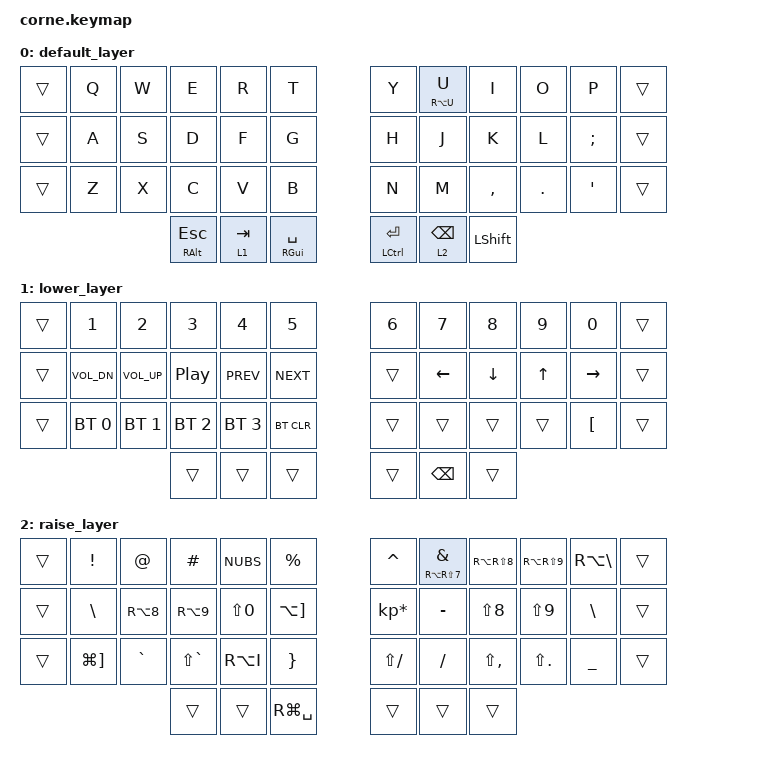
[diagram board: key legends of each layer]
/*
 * Copyright (c) 2020 The ZMK Contributors
 *
 * SPDX-License-Identifier: MIT
 */

#include <behaviors.dtsi>
#include <dt-bindings/zmk/keys.h>
#include <dt-bindings/zmk/bt.h>

#define DK_AA LBKT
#define DK_AE SEMI
#define DK_OE SQT

// Shifted characters
#define DK_SEMI LS(COMMA) // ;
#define DK_COLON LS(DOT) // :
#define DK_PLUS MINUS // +
#define DK_MINUS FSLH // -
#define DK_EQ LS(N0) // = 
#define DK_QUES UNDER // _ 
#define DK_LESS GRAVE // <
#define DK_MORE LS(GRAVE) // >
#define DK_PIPE RA(I) // |
#define DK_QUOTE AT // "
#define DK_AT RA(BSLH) // @
#define DK_BSLH RA(RS(N7)) // 
#define DK_SLH AMPERSAND // ERROR
#define DK_AMPS CARET // ampersand
#define DK_DLLR NUBS 
#define DK_UNDER LS(FSLH)
#define DK_TILDE LA(RBKT)
#define DK_HAT RBRC
#define DK_UMLAUT LG(RBKT)
#define DK_TICK BSLH // 
#define DK_LPRN LS(N8)	// (
#define DK_RPRN LS(N9)	// )
#define DK_LCBR RA(RS(N8))  // {
#define DK_RCBR RA(RS(N9))	// }
#define DK_LBRC RA(N8)	// [
#define DK_RBRC RA(N9)	// ]
#define CMD_SPC RG(SPACE)
#define UE RA(U)

#define COMBO(NAME, BINDINGS, KEYPOS) \
  combo_##NAME { \
    timeout-ms = <50>; \
    bindings = <BINDINGS>; \
    key-positions = <KEYPOS>; \
    layers = <0>; \
  };

&lt {
        quick-tap-ms = <200>; //Dobbelt tab indenfor den tid giver altid TAP behaviour - til delete
};

/ {

        combos {
            compatible = "zmk,combos";
            COMBO(AA, &kp DK_AA, 13 22) // z & ø giver å 
            COMBO(, &kp C_PWR, 1 10)
        };

        behaviors { // sætter flavor til tap preferred så mods ikke aktiveres når en anden knap trykkes samtidig
                http: hold_tap_tap_preferred {
                        compatible = "zmk,behavior-hold-tap";
                        label = "hold_tap_tap_preferred";
                        #binding-cells = <2>;
                        flavor = "tap-preferred";
                        tapping-term-ms = <200>;
                        quick-tap-ms = <0>;
                        bindings = <&kp>, <&kp>;
                };
        };

        keymap {
                compatible = "zmk,keymap";

                default_layer {
                        bindings = <
// |             |      Q      |      W      |      E      |      R      |      T      |   |      Y      |      U      |      I      |      O      |      P      |            |
        &trans        &kp Q         &kp W         &kp E         &kp R         &kp T             &kp Y       &http UE U    &kp I         &kp O         &kp P        &trans
// |             |      A      |      S      |      D      |      F      |      G      |   |      H      |      J      |      K      |      L      |      Æ      |            |
        &trans       &kp A          &kp S         &kp D         &kp F         &kp G             &kp H         &kp J         &kp K         &kp L       &kp DK_AE      &trans
// |             |      Z      |      X      |      C      |      V      |      B      |   |      N      |      M      |      ,      |      .      |      Ø      |            |
        &trans       &kp Z          &kp X         &kp C         &kp V         &kp B             &kp N         &kp M       &kp COMMA      &kp DOT      &kp DK_OE      &trans
//                                           |  ALT / ESC  |  LWR / TAB  |  CMD / SPC  |   |   CTRL/ENT  |  RSE / BSPC |     SHIFT   |
                                              &mt RALT ESC &lt 1 TAB   &http RGUI SPACE    &http LCTRL RET  &lt 2 BSPC    &kp LSHFT
                        >;
                };
                lower_layer {
                        bindings = <
// |             |     1      |      2      |      3      |      4      |      5      |   |      6      |      7      |      8      |      9      |      0      |             |   
       &trans        &kp N1        &kp N2        &kp N3        &kp N4        &kp N5            &kp N6        &kp N7        &kp N8        &kp N9       &kp N0         &trans
// |             |   VOL DWN  |   VOL UP    |      PP     |     PREV    |     NEXT    |   |             |     LFT     |      DWM    |     UP      |     RGT     |             |
       &trans     &kp C_VOL_DN  &kp C_VOL_UP    &kp C_PP    &kp C_PREV    &kp C_NEXT           &trans       &kp LEFT      &kp DOWN       &kp UP      &kp RIGHT        &trans
// |             |    BT 1    |     BT 2    |     BT 3    |             |             |   |             |             |             |             |      Å       |             | 
       &trans     &bt BT_SEL 0  &bt BT_SEL 1  &bt BT_SEL 2  &bt BT_SEL 3  &bt BT_CLR        &trans        &trans        &trans        &trans      &kp DK_AA       &trans
//                                          |             |             |             |   |             |             |             |           
                                                &trans         &trans        &trans          &trans        &kp  BSPC       &trans
                        >;
                };

                raise_layer {
                        bindings = <
// |             |      !      |      "      |      #      |      $      |      %      |   |      &      |      /      |      {      |      }      |     @       |            | 
        &trans       &kp EXCL     &kp DK_QUOTE   &kp HASH      &kp DK_DLLR   &kp PRCNT      &kp DK_AMPS &mt DK_BSLH DK_SLH &kp DK_LCBR &kp DK_RCBR   &kp DK_AT    &trans
// |             |      '      |      [      |      ]      |      =      |      ~      |   |      *      |      +      |       (     |      )      |      '      |            |
       &trans       &kp DK_TICK  &kp DK_LBRC   &kp  DK_RBRC   &kp DK_EQ    &kp DK_TILDE    &kp KP_MULTIPLY &kp DK_PLUS  &kp DK_LPRN   &kp DK_RPRN   &kp DK_TICK   &trans
// |             |      ¨      |      <      |      >      |      |      |      ^      |   |      _      |      -      |    SEMI     |    COLON    |             |            |
       &trans     &kp DK_UMLAUT &kp DK_LESS   &kp DK_MORE   &kp DK_PIPE   &kp DK_HAT       &kp DK_UNDER  &kp DK_MINUS   &kp DK_SEMI  &kp DK_COLON   &kp DK_QUES   &trans
//                                           |     CMD     |             | CMD+SPACE   |   |     ENT     |             |     ALT     |
                                                &trans         &trans      &kp CMD_SPC         &trans        &trans        &trans 
                        >;
                };
        };
};
